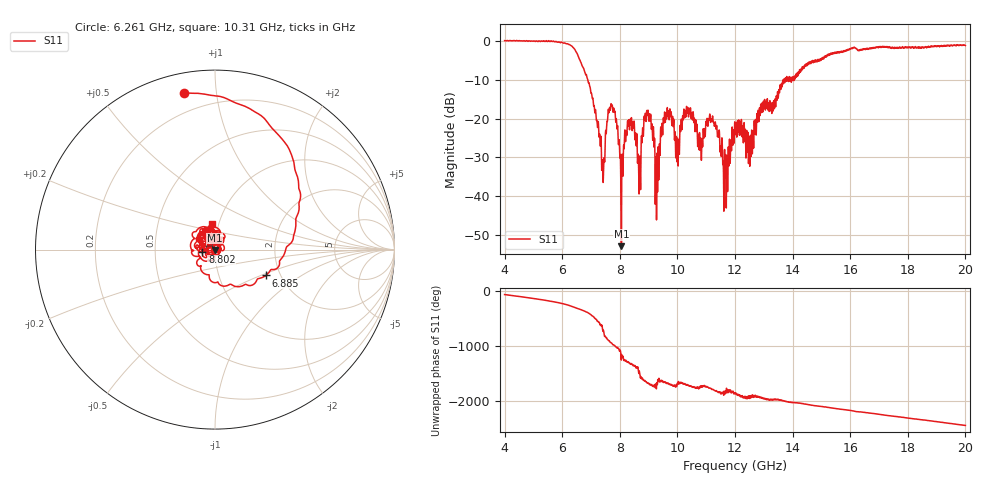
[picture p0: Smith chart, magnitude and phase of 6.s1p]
[Version] 2.0
! Rohde & Schwarz Vector Network Analyzer
! Rohde-Schwarz,ZNL20-2Port,1323001220200009,1.71.1.10-23.02.1.238
! Port Assignments:
! Nominal Port -> Actual Test Port
!  1 -> 1
! Created: GMT+2 2025-01-17 12:45:49
# Hz S RI R 50
[Number of Ports] 1
! freq[Hz]  S11[Re]  S11[Im]
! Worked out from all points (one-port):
!   16001 points, 4 GHz to 20 GHz, reference 50 ohm
!   lowest |S11| = -52.8 dB at 8.057 GHz (marker M1), VSWR 1.00, Z = 49.9 - j0.218 ohm
!   |S11| at or under -10 dB: 6.886 GHz to 13.7 GHz (6.812 GHz wide, 66.2 % of centre); 13.7119 GHz to 13.73993 GHz (28.04 MHz wide, 0.204 % of centre); 13.94144 GHz to 13.96405 GHz (22.62 MHz wide, 0.162 % of centre)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
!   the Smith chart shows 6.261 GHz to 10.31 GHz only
!   S11 on the Smith chart (normalised r, x): 6.261 GHz: 0.10, +0.82; 6.885 GHz: 1.68, -0.54; 8.802 GHz: 0.87, -0.03; 10.31 GHz: 0.93, +0.27
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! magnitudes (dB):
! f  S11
! 4 GHz  0.0
! 6 GHz  -0.5
! 6.261 GHz  -1.0
! 6.885 GHz  -9.9
! 7.402 GHz  -31.0
! 7.717 GHz  -16.7
! 7.863 GHz  -20.9
! 8 GHz  -30.0
! 8.057 GHz  -52.8
! 8.334 GHz  -22.7
! 8.665 GHz  -38.9
! 8.802 GHz  -22.9
! 9.008 GHz  -20.6
! 9.296 GHz  -29.1
! 9.488 GHz  -24.2
! 9.713 GHz  -20.2
! 10 GHz  -25.3
! 10.31 GHz  -17.0
! 10.81 GHz  -25.0
! 11.25 GHz  -21.0
! 11.67 GHz  -29.8
! 12 GHz  -21.5
! 12.54 GHz  -24.3
! 12.96 GHz  -18.3
! 14 GHz  -10.2
! 16 GHz  -2.0
! 18 GHz  -1.6
! 20 GHz  -1.2
